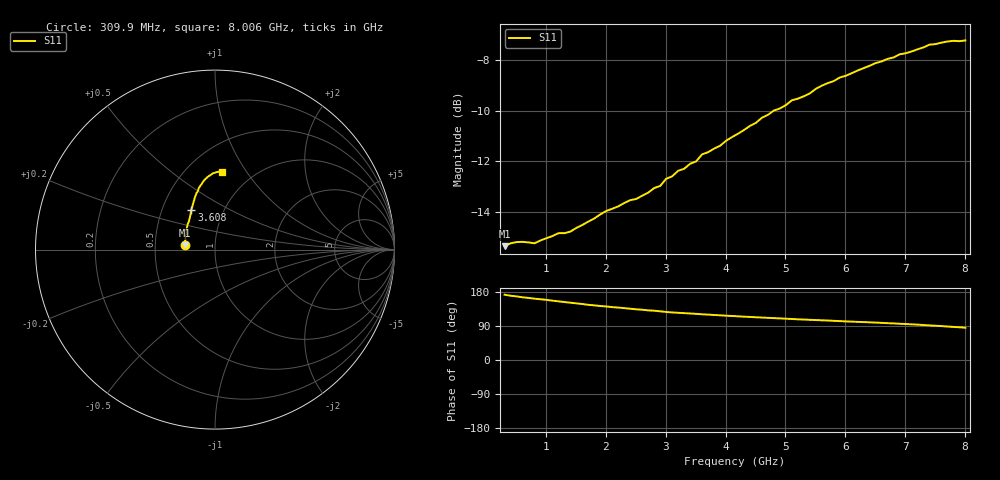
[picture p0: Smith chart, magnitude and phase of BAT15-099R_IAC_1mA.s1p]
! Infineon Technologies  Discrete & RF Semiconductors
! BAT15-099R
! IAC = 1 mA
! One-Port S-Parameters
# Hz  S  MA  R  50
!f  S11
!Hz  Mag  Ang
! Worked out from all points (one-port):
!   78 points, 309.9 MHz to 8.006 GHz, reference 50 ohm
!   lowest |S11| = -15.3 dB at 309.9 MHz (marker M1), VSWR 1.41, Z = 35.5 + j1.69 ohm
!   |S11| at or under -10 dB: start of sweep to 4.807 GHz
!   S11 on the Smith chart (normalised r, x): 309.9 MHz: 0.71, +0.03; 3.608 GHz: 0.70, +0.34; 8.006 GHz: 0.73, +0.78
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3.0985e8  0.1711 172.2
5.0975e8  0.1743 167.9
8.096e8  0.1734 161.8
1.2094e9  0.1815 154.8
1.30935e9  0.1815 152.9
1.4093e9  0.1828 151.2
2.009e9  0.2008 141.2
2.30885e9  0.2081 136.8
2.50875e9  0.2119 133.7
2.90855e9  0.2248 128.5
3.0085e9  0.2322 126.8
3.10845e9  0.2348 125.5
3.2084e9  0.2408 124.6
3.50825e9  0.2512 121.8
3.6082e9  0.2594 120.6
3.90805e9  0.2696 118.0
4.2079e9  0.2848 115.2
4.8076e9  0.3162 110.5
5.0075e9  0.3241 109.0
5.10745e9  0.3313 108.2
5.2074e9  0.3337 107.4
5.6072e9  0.3539 104.8
6.10695e9  0.3745 101.3
6.6067e9  0.3951 98.0
7.10645e9  0.4132 94.1
7.4063e9  0.4262 91.3
7.70615e9  0.4323 88.3
8.006e9  0.4344 85.2
